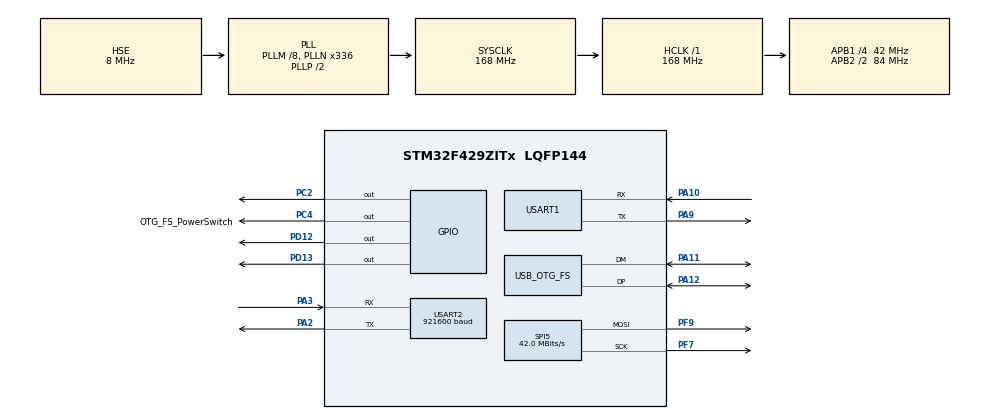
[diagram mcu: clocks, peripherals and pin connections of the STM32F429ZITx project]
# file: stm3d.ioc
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Dma.Request0=SPI5_TX
Dma.Request1=USART2_RX
Dma.SPI5_TX.0.Direction=DMA_MEMORY_TO_PERIPH
Dma.SPI5_TX.0.FIFOMode=DMA_FIFOMODE_DISABLE
Dma.SPI5_TX.0.Instance=DMA2_Stream4
Dma.SPI5_TX.0.MemDataAlignment=DMA_MDATAALIGN_BYTE
Dma.SPI5_TX.0.MemInc=DMA_MINC_ENABLE
Dma.SPI5_TX.0.Mode=DMA_NORMAL
Dma.SPI5_TX.0.PeriphDataAlignment=DMA_PDATAALIGN_BYTE
Dma.SPI5_TX.0.PeriphInc=DMA_PINC_DISABLE
Dma.SPI5_TX.0.Priority=DMA_PRIORITY_LOW
Dma.USART2_RX.1.Direction=DMA_PERIPH_TO_MEMORY
Dma.USART2_RX.1.FIFOMode=DMA_FIFOMODE_DISABLE
Dma.USART2_RX.1.Instance=DMA1_Stream5
Dma.USART2_RX.1.MemDataAlignment=DMA_MDATAALIGN_BYTE
Dma.USART2_RX.1.MemInc=DMA_MINC_ENABLE
Dma.USART2_RX.1.Mode=DMA_CIRCULAR
Dma.USART2_RX.1.PeriphDataAlignment=DMA_PDATAALIGN_BYTE
Dma.USART2_RX.1.PeriphInc=DMA_PINC_DISABLE
Dma.USART2_RX.1.Priority=DMA_PRIORITY_HIGH
Mcu.Family=STM32F4
Mcu.Name=STM32F429ZITx
Mcu.Package=LQFP144
NVIC.DMA1_Stream5_IRQn=true\:0\:0\:false\:false\:true\:false\:true\:true
NVIC.DMA2_Stream4_IRQn=true\:0\:0\:false\:false\:true\:false\:true\:true
NVIC.OTG_FS_IRQn=true\:0\:0\:false\:false\:true\:false\:true\:true
NVIC.PriorityGroup=NVIC_PRIORITYGROUP_4
NVIC.USART2_IRQn=true\:0\:0\:false\:false\:true\:true\:true\:true
PA10.Mode=Asynchronous
PA10.Signal=USART1_RX
PA11.Mode=Host_Only
PA11.Signal=USB_OTG_FS_DM
PA12.Mode=Host_Only
PA12.Signal=USB_OTG_FS_DP
PA2.Mode=Asynchronous
PA2.Signal=USART2_TX
PA3.Mode=Asynchronous
PA3.Signal=USART2_RX
PA9.Mode=Asynchronous
PA9.Signal=USART1_TX
PC2.Signal=GPIO_Output
PC4.GPIO_Label=OTG_FS_PowerSwitch
PC4.Signal=GPIO_Output
PD12.Signal=GPIO_Output
PD13.Signal=GPIO_Output
PF7.Mode=TX_Only_Simplex_Unidirect_Master
PF7.Signal=SPI5_SCK
PF9.Mode=TX_Only_Simplex_Unidirect_Master
PF9.Signal=SPI5_MOSI
PH0/OSC_IN.Mode=HSE-External-Oscillator
PH0/OSC_IN.Signal=RCC_OSC_IN
PH1/OSC_OUT.Mode=HSE-External-Oscillator
PH1/OSC_OUT.Signal=RCC_OSC_OUT
ProjectManager.HeapSize=0x200
ProjectManager.StackSize=0x400
ProjectManager.TargetToolchain=STM32CubeIDE
RCC.48MHZClocksFreq_Value=48000000
RCC.AHBFreq_Value=168000000
RCC.APB1CLKDivider=RCC_HCLK_DIV4
RCC.APB1Freq_Value=42000000
RCC.APB1TimFreq_Value=84000000
RCC.APB2CLKDivider=RCC_HCLK_DIV2
RCC.APB2Freq_Value=84000000
RCC.APB2TimFreq_Value=168000000
RCC.CortexFreq_Value=168000000
RCC.HCLKFreq_Value=168000000
RCC.HSE_VALUE=8000000
RCC.HSI_VALUE=16000000
RCC.LSE_VALUE=32768
RCC.PLLM=8
RCC.PLLN=336
RCC.PLLQ=7
RCC.SYSCLKFreq_VALUE=168000000
RCC.SYSCLKSource=RCC_SYSCLKSOURCE_PLLCLK
RCC.VCOOutputFreq_Value=336000000
SPI5.BaudRatePrescaler=SPI_BAUDRATEPRESCALER_2
SPI5.CalculateBaudRate=42.0 MBits/s
SPI5.Direction=SPI_DIRECTION_2LINES
SPI5.Mode=SPI_MODE_MASTER
SPI5.VirtualType=VM_MASTER
USART1.VirtualMode=VM_ASYNC
USART2.BaudRate=921600
USART2.VirtualMode=VM_ASYNC
USB_HOST.BSP.number=1
USB_HOST.USBH_HandleTypeDef-ALL_Classes_FS=hUsbHostFS
USB_HOST.VirtualModeFS=All_Classes
USB_HOST0.BSP.STBoard=false
USB_HOST0.BSP.api=Unknown
USB_HOST0.BSP.condition=ALL_SW_VBUS_DRIVE_FS \= false
USB_HOST0.BSP.instance=PC4
USB_HOST0.BSP.ip=GPIO
USB_HOST0.BSP.mode=Output
USB_HOST0.BSP.name=Drive_VBUS_FS
USB_HOST0.BSP.solution=PC4
USB_OTG_FS.VirtualMode=Host_Only
USB_OTG_FS.phy_itface=HCD_PHY_EMBEDDED
VP_USB_HOST_VS_USB_HOST_ALL_CLASS_FS.Mode=ALL_Classes_FS
board=custom

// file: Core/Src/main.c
/* USER CODE BEGIN Header */
/**
  ******************************************************************************
  * @file           : main.c
  * @brief          : Main program body
  ******************************************************************************
  * @attention
  *
  * Copyright (c) 2026 STMicroelectronics.
  * All rights reserved.
  *
  * This software is licensed under terms that can be found in the LICENSE file
  * in the root directory of this software component.
  * If no LICENSE file comes with this software, it is provided AS-IS.
  *
  ******************************************************************************
  */
/* USER CODE END Header */
#include "main.h"
#include "usb_host.h"

/* USER CODE BEGIN Includes */
#include "Display/fonts.h"
#include "Display/ILI9341_STM32_Driver.h"
#include "Display/ILI9341_GFX.h"
#include "Graphics/graphics_2d.h"
#include "Graphics/graphics_3d.h"
#include "Games/stack_game.h"
#include "Communication/espuart.h"
#include "Games/tetris_game.h"
#include "Games/app_state_manager.h"
#include "Communication/input_manager.h"
/* USER CODE END Includes */

/* USER CODE BEGIN PD */
#define BUTTON_DEBOUNCE_MS 50U
/* USER CODE END PD */

SPI_HandleTypeDef hspi5;
DMA_HandleTypeDef hdma_spi5_tx;

UART_HandleTypeDef huart1;
UART_HandleTypeDef huart2;
DMA_HandleTypeDef hdma_usart2_rx;

/* USER CODE BEGIN PV */
static volatile uint32_t button_last_edge_tick = 0U;
static volatile uint8_t button_press_events = 0U;
/* USER CODE END PV */

void SystemClock_Config(void);
static void MX_GPIO_Init(void);
static void MX_DMA_Init(void);
static void MX_SPI5_Init(void);
static void MX_USART1_UART_Init(void);
static void MX_USART2_UART_Init(void);
void MX_USB_HOST_Process(void);

/* USER CODE BEGIN PFP */
static void on_espuart_data(uint8_t *data, uint16_t length);
/* USER CODE END PFP */

/* USER CODE BEGIN 0 */
static void on_espuart_data(uint8_t *data, uint16_t length)
{
  for (uint16_t i = 0; i < length; i++)
  {
    InputAction_t action = InputManager_MapCharacter((char)data[i]);
    AppStateManager_HandleAction(action);
  }
}
/* USER CODE END 0 */

int main(void)
{

  /* MCU Configuration--------------------------------------------------------*/

  /* Reset of all peripherals, Initializes the Flash interface and the Systick. */
  HAL_Init();

  /* Configure the system clock */
  SystemClock_Config();

  /* Initialize all configured peripherals */
  MX_GPIO_Init();
  MX_DMA_Init();
  MX_SPI5_Init();
  MX_USART1_UART_Init();
  MX_USART2_UART_Init();
  MX_USB_HOST_Init();
  /* USER CODE BEGIN 2 */
  ILI9341_Init();
  ILI9341_SetRotation(SCREEN_ROTATION);
  ILI9341_FillScreen(BLACK);

  espuart_init(&huart2, &hdma_usart2_rx, on_espuart_data);
  AppStateManager_Init();

  uint32_t previous_frame_tick = HAL_GetTick();
  /* USER CODE END 2 */

  /* Infinite loop */
  while (1)
  {
    MX_USB_HOST_Process();
    HAL_GPIO_WritePin(GPIOC, GPIO_PIN_4, GPIO_PIN_RESET);

    /* USER CODE BEGIN 3 */
    espuart_poll();

    uint32_t current_frame_tick = HAL_GetTick();
    uint32_t primask = __get_PRIMASK();
    __disable_irq();
    uint8_t press_events = button_press_events;
    button_press_events = 0U;
    if (primask == 0U) __enable_irq();

    float delta_seconds = (float)(current_frame_tick - previous_frame_tick) * 0.001f;
    previous_frame_tick = current_frame_tick;

    while (press_events > 0U) {
      AppStateManager_HandleAction(INPUT_ACTION_SELECT);
      press_events--;
    }

    AppStateManager_Update(delta_seconds);
    AppStateManager_Render();
  }
  /* USER CODE END 3 */
}

void SystemClock_Config(void)
{
  RCC_OscInitTypeDef RCC_OscInitStruct = {0};
  RCC_ClkInitTypeDef RCC_ClkInitStruct = {0};

  /** Configure the main internal regulator output voltage
  */
  __HAL_RCC_PWR_CLK_ENABLE();
  __HAL_PWR_VOLTAGESCALING_CONFIG(PWR_REGULATOR_VOLTAGE_SCALE1);

  /** Initializes the RCC Oscillators according to the specified parameters
  * in the RCC_OscInitTypeDef structure.
  */
  RCC_OscInitStruct.OscillatorType = RCC_OSCILLATORTYPE_HSE;
  RCC_OscInitStruct.HSEState = RCC_HSE_ON;
  RCC_OscInitStruct.PLL.PLLState = RCC_PLL_ON;
  RCC_OscInitStruct.PLL.PLLSource = RCC_PLLSOURCE_HSE;
  RCC_OscInitStruct.PLL.PLLM = 8;
  RCC_OscInitStruct.PLL.PLLN = 336;
  RCC_OscInitStruct.PLL.PLLP = RCC_PLLP_DIV2;
  RCC_OscInitStruct.PLL.PLLQ = 7;
  if (HAL_RCC_OscConfig(&RCC_OscInitStruct) != HAL_OK)
  {
    Error_Handler();
  }

  /** Initializes the CPU, AHB and APB buses clocks
  */
  RCC_ClkInitStruct.ClockType = RCC_CLOCKTYPE_HCLK|RCC_CLOCKTYPE_SYSCLK
                              |RCC_CLOCKTYPE_PCLK1|RCC_CLOCKTYPE_PCLK2;
  RCC_ClkInitStruct.SYSCLKSource = RCC_SYSCLKSOURCE_PLLCLK;
  RCC_ClkInitStruct.AHBCLKDivider = RCC_SYSCLK_DIV1;
  RCC_ClkInitStruct.APB1CLKDivider = RCC_HCLK_DIV4;
  RCC_ClkInitStruct.APB2CLKDivider = RCC_HCLK_DIV2;

  if (HAL_RCC_ClockConfig(&RCC_ClkInitStruct, FLASH_LATENCY_5) != HAL_OK)
  {
    Error_Handler();
  }
}

static void MX_SPI5_Init(void)
{

  /* SPI5 parameter configuration*/
  hspi5.Instance = SPI5;
  hspi5.Init.Mode = SPI_MODE_MASTER;
  hspi5.Init.Direction = SPI_DIRECTION_2LINES;
  hspi5.Init.DataSize = SPI_DATASIZE_8BIT;
  hspi5.Init.CLKPolarity = SPI_POLARITY_LOW;
  hspi5.Init.CLKPhase = SPI_PHASE_1EDGE;
  hspi5.Init.NSS = SPI_NSS_SOFT;
  hspi5.Init.BaudRatePrescaler = SPI_BAUDRATEPRESCALER_2;
  hspi5.Init.FirstBit = SPI_FIRSTBIT_MSB;
  hspi5.Init.TIMode = SPI_TIMODE_DISABLE;
  hspi5.Init.CRCCalculation = SPI_CRCCALCULATION_DISABLE;
  hspi5.Init.CRCPolynomial = 10;
  if (HAL_SPI_Init(&hspi5) != HAL_OK)
  {
    Error_Handler();
  }

}

static void MX_USART1_UART_Init(void)
{

  huart1.Instance = USART1;
  huart1.Init.BaudRate = 115200;
  huart1.Init.WordLength = UART_WORDLENGTH_8B;
  huart1.Init.StopBits = UART_STOPBITS_1;
  huart1.Init.Parity = UART_PARITY_NONE;
  huart1.Init.Mode = UART_MODE_TX_RX;
  huart1.Init.HwFlowCtl = UART_HWCONTROL_NONE;
  huart1.Init.OverSampling = UART_OVERSAMPLING_16;
  if (HAL_UART_Init(&huart1) != HAL_OK)
  {
    Error_Handler();
  }

}

static void MX_USART2_UART_Init(void)
{

  huart2.Instance = USART2;
  huart2.Init.BaudRate = 921600;
  huart2.Init.WordLength = UART_WORDLENGTH_8B;
  huart2.Init.StopBits = UART_STOPBITS_1;
  huart2.Init.Parity = UART_PARITY_NONE;
  huart2.Init.Mode = UART_MODE_TX_RX;
  huart2.Init.HwFlowCtl = UART_HWCONTROL_NONE;
  huart2.Init.OverSampling = UART_OVERSAMPLING_16;
  if (HAL_UART_Init(&huart2) != HAL_OK)
  {
    Error_Handler();
  }

}

static void MX_DMA_Init(void)
{

  /* DMA controller clock enable */
  __HAL_RCC_DMA2_CLK_ENABLE();
  __HAL_RCC_DMA1_CLK_ENABLE();

  /* DMA interrupt init */
  /* DMA1_Stream5_IRQn interrupt configuration */
  HAL_NVIC_SetPriority(DMA1_Stream5_IRQn, 0, 0);
  HAL_NVIC_EnableIRQ(DMA1_Stream5_IRQn);
  /* DMA2_Stream4_IRQn interrupt configuration */
  HAL_NVIC_SetPriority(DMA2_Stream4_IRQn, 0, 0);
  HAL_NVIC_EnableIRQ(DMA2_Stream4_IRQn);

}

static void MX_GPIO_Init(void)
{
  GPIO_InitTypeDef GPIO_InitStruct = {0};

  /* GPIO Ports Clock Enable */
  __HAL_RCC_GPIOF_CLK_ENABLE();
  __HAL_RCC_GPIOH_CLK_ENABLE();
  __HAL_RCC_GPIOC_CLK_ENABLE();
  __HAL_RCC_GPIOA_CLK_ENABLE();
  __HAL_RCC_GPIOD_CLK_ENABLE();

  /*Configure GPIO pin Output Level */
  HAL_GPIO_WritePin(GPIOC, GPIO_PIN_2|OTG_FS_PowerSwitch_Pin, GPIO_PIN_RESET);

  /*Configure GPIO pin Output Level */
  HAL_GPIO_WritePin(GPIOD, GPIO_PIN_12|GPIO_PIN_13, GPIO_PIN_RESET);

  /*Configure GPIO pins : PC2 OTG_FS_PowerSwitch_Pin */
  GPIO_InitStruct.Pin = GPIO_PIN_2|OTG_FS_PowerSwitch_Pin;
  GPIO_InitStruct.Mode = GPIO_MODE_OUTPUT_PP;
  GPIO_InitStruct.Pull = GPIO_NOPULL;
  GPIO_InitStruct.Speed = GPIO_SPEED_FREQ_LOW;
  HAL_GPIO_Init(GPIOC, &GPIO_InitStruct);

  /*Configure GPIO pins : PD12 PD13 */
  GPIO_InitStruct.Pin = GPIO_PIN_12|GPIO_PIN_13;
  GPIO_InitStruct.Mode = GPIO_MODE_OUTPUT_PP;
  GPIO_InitStruct.Pull = GPIO_NOPULL;
  GPIO_InitStruct.Speed = GPIO_SPEED_FREQ_LOW;
  HAL_GPIO_Init(GPIOD, &GPIO_InitStruct);

  /* USER CODE BEGIN MX_GPIO_Init_2 */
  GPIO_InitStruct.Pin = USER_BUTTON_Pin;
  GPIO_InitStruct.Mode = GPIO_MODE_IT_RISING;
  GPIO_InitStruct.Pull = GPIO_NOPULL;
  HAL_GPIO_Init(USER_BUTTON_GPIO_Port, &GPIO_InitStruct);

  HAL_NVIC_SetPriority(EXTI0_IRQn, 1, 0);
  HAL_NVIC_EnableIRQ(EXTI0_IRQn);
  /* USER CODE END MX_GPIO_Init_2 */
}

/* USER CODE BEGIN 4 */
void HAL_GPIO_EXTI_Callback(uint16_t GPIO_Pin)
{
  if (GPIO_Pin != USER_BUTTON_Pin) return;

  uint32_t now = HAL_GetTick();
  if (button_last_edge_tick != 0U && (now - button_last_edge_tick < BUTTON_DEBOUNCE_MS)) {
    return;
  }
  button_last_edge_tick = now;
  if (button_press_events < UINT8_MAX) button_press_events++;
}
/* USER CODE END 4 */

void Error_Handler(void)
{
  __disable_irq();
  while (1)
  {
  }
}
